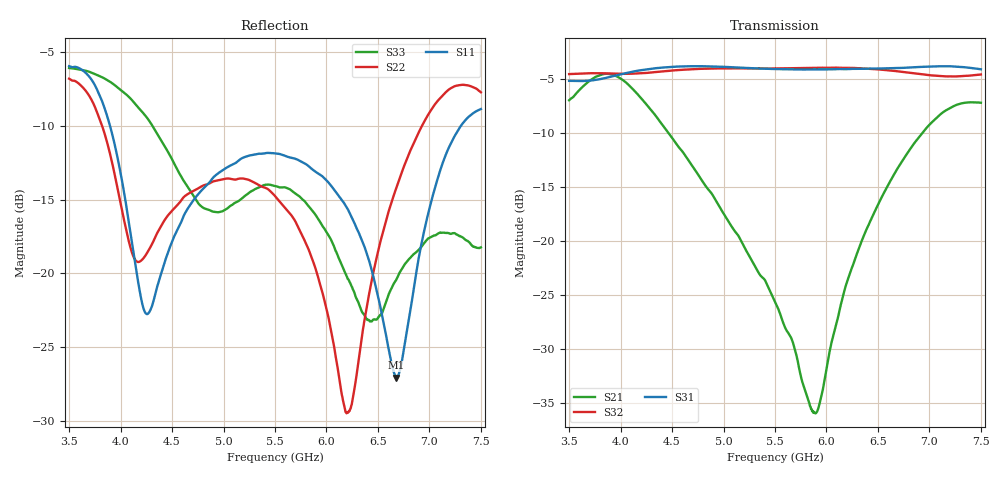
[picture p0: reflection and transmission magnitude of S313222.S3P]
!Agilent Technologies,E5071B,MY42403545,A.09.10
!Date: Thu Jul 11 06:42:53 2019
!Data & Calibration Information:
!Freq	S11:SOLT3(ON)	S12:SOLT3(ON)	S13:SOLT3(ON)
!	S21:SOLT3(ON)	S22:SOLT3(ON)	S23:SOLT3(ON)
!	S31:SOLT3(ON)	S32:SOLT3(ON)	S33:SOLT3(ON)
# Hz S dB R 50
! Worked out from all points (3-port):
!   801 points, 3.5 GHz to 7.5 GHz, reference 50 ohm
!   strongest paths, dB at 3.5 GHz, 4.5 GHz, 5.5 GHz, 6.5 GHz, 7.5 GHz:
!     S31: -5.1, -3.8, -4.0, -4.0, -4.1
!     S32: -4.5, -4.2, -4.0, -4.1, -4.5
!     S21: -6.9, -10.4, -25.6, -16.6, -7.2
!   lowest |S11| = -27.1 dB at 6.68 GHz (marker M1), VSWR 1.09, Z = 47 + j3.05 ohm
!   |S11| at or under -10 dB: 3.897 GHz to 7.305 GHz (3.408 GHz wide, 60.8 % of centre)
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3.5e9  -5.95 0.8  -6.90 118.8  -5.14 -44.2
       -6.93 118.7  -6.80 4.7  -4.52 -45.5
       -5.14 -44.0  -4.51 -45.5  -6.07 30.6
3.775e9  -7.59 -53.4  -4.70 72.3  -5.02 -71.8
         -4.70 72.3  -9.15 -54.2  -4.44 -77.0
         -5.02 -71.6  -4.43 -76.9  -6.56 0.1
4.025e9  -14.16 -117.3  -5.09 21.5  -4.46 -98.9
         -5.09 21.7  -16.12 -135.6  -4.49 -105.4
         -4.48 -98.8  -4.49 -105.3  -7.70 -30.0
4.255e9  -22.78 139.6  -7.35 -18.6  -4.06 -126.4
         -7.37 -18.5  -18.64 119.0  -4.39 -131.0
         -4.08 -126.4  -4.40 -131.0  -9.43 -62.1
4.63e9  -15.88 40.7  -12.03 -68.5  -3.79 -172.6
        -12.08 -68.7  -14.73 46.9  -4.08 -174.9
        -3.79 -172.6  -4.10 -175.0  -13.91 -133.6
5.5e9  -11.86 -42.8  -25.63 -133.1  -4.04 82.6
       -25.60 -133.1  -14.76 -37.6  -3.98 80.4
       -4.04 82.7  -3.98 80.5  -14.08 35.2
5.895e9  -13.12 -79.5  -36.13 -80.9  -4.06 36.0
         -35.95 -83.7  -19.71 -81.8  -3.93 32.7
         -4.07 36.1  -3.93 32.6  -16.06 -26.6
6.205e9  -15.63 -110.4  -23.83 -43.8  -4.03 -1.0
         -23.62 -45.6  -29.48 179.5  -3.93 -5.7
         -4.05 -0.8  -3.93 -5.7  -20.37 -88.0
6.68e9  -27.10 132.9  -13.47 -95.4  -3.96 -58.5
        -13.42 -95.2  -14.18 54.7  -4.26 -65.1
        -3.96 -58.4  -4.24 -65.2  -20.41 132.2
7.5e9  -8.86 -63.8  -7.14 129.0  -4.07 -163.4
       -7.17 128.7  -7.72 -51.6  -4.55 -162.8
       -4.07 -163.4  -4.55 -162.8  -18.24 54.7
